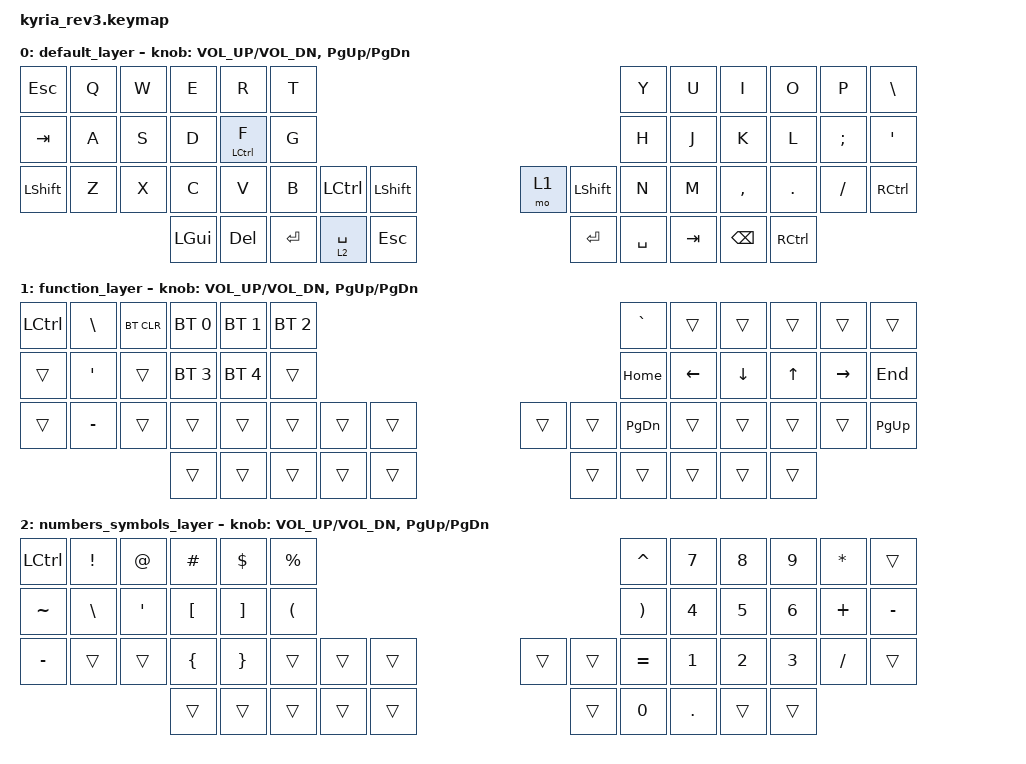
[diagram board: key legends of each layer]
/*
 * Copyright (c) 2023 The ZMK Contributors
 *
 * SPDX-License-Identifier: MIT
 */

#include <behaviors.dtsi>
#include <dt-bindings/zmk/bt.h>
#include <dt-bindings/zmk/keys.h>

/* Uncomment this block if using RGB
&led_strip {
    chain-length = <6>;
    // chain-length = <31>; // Uncomment if using both per-key and underglow LEDs
    // chain-length = <25>; // Uncomment if using only per-key LEDs.
};
 */

/ {
    keymap {
        compatible = "zmk,keymap";

        default_layer {
            // ---------------------------------------------------------------------------------------------------------------------------------
            // |  ESC  |  Q  |  W  |  E   |  R   |  T   |                                          |  Y   |  U    |  I    |  O   |   P   |   \  |
            // |  TAB  |  A  |  S  |  D   | F/CTL|  G   |                                          |  H   |  J    |  K    |  L   |   ;   |   '  |
            // | SHIFT |  Z  |  X  |  C   |  V   |  B   |  CTRL   | L SHIFT |  | LAYER 1 | L SHIFT |  N   |  M    |  ,    |  .   |   /   | CTRL |
            //                     | GUI  | DEL  | RET  | LT2/SPC |   ESC   |  |   RET   |  SPACE  | TAB  | BSPC  | R-CTL |
            bindings = <
            &kp ESC   &kp Q &kp W &kp E &kp R &kp T                                                  &kp Y &kp U  &kp I     &kp O   &kp P    &kp BSLH
            &kp TAB   &kp A &kp S &kp D &mt LCTL F &kp G                                            &kp H &kp J  &kp K     &kp L   &kp SEMI &kp SQT
            &kp LSHFT &kp Z &kp X &kp C &kp V &kp B &kp LCTL &kp LSHFT            &mo 1   &kp LSHFT &kp N &kp M  &kp COMMA &kp DOT &kp FSLH &kp RCTRL
                                  &kp LGUI &kp DEL &kp RET &lt 2 SPACE &kp ESC       &kp RET &kp SPACE &kp TAB &kp BSPC &kp RCTL
            >;

            sensor-bindings = <&inc_dec_kp C_VOL_UP C_VOL_DN &inc_dec_kp PG_UP PG_DN>;
        };
        function_layer {
            // ---------------------------------------------------------------------------------------------------------------------------------
            // |  CTRL |   \  |BT_CLR|BTSEL0|BTSEL1|BTSEL2|                                         |   `  |      |      |      |      |      |
            // |       |   '  |      |BTSEL3|BTSEL4|      |                                         | HOME | LEFT | DOWN |  UP  | RGHT | END  |
            // |       |   -  |      |      |      |      |      |      |      |      |      |      | PGDN |      |      |      |      | PGUP |
            //                       |      |      |      |      |      |      |      |      |      |      |      |      |
            bindings = <
            &kp LCTL &kp BSLH &bt BT_CLR &bt BT_SEL 0 &bt BT_SEL 1 &bt BT_SEL 2              &kp GRAVE &trans    &trans   &trans &trans   &trans
            &trans &kp SQT  &trans     &bt BT_SEL 3 &bt BT_SEL 4 &trans                    &kp HOME &kp LEFT  &kp DOWN &kp UP &kp RIGHT &kp END
            &trans &kp MINUS &trans &trans &trans &trans &trans &trans        &trans &trans &kp PG_DN &trans   &trans   &trans &trans   &kp PG_UP
                                 &trans &trans &trans &trans &trans        &trans &trans &trans &trans &trans
            >;

            sensor-bindings = <&inc_dec_kp C_VOL_UP C_VOL_DN &inc_dec_kp PG_UP PG_DN>;
        };
        numbers_symbols_layer {
            // ---------------------------------------------------------------------------------------------------------------------------------
            // |  CTRL |  !  |  @  |  #  |  $  |  %  |                                          |  ^  |  7  |  8  |  9  |  *  |      |
            // |   ~   |  \  |  '  |  [  |  ]  |  (  |                                          |  )  |  4  |  5  |  6  |  +  |  -   |
            // |   -   |     |     |  {  |  }  |     |      |      |      |      |      |      |  =  |  1  |  2  |  3  |  /  |      |
            //                     |     |     |     |      |      |      |      |  0   |  .   |     |
            bindings = <
            &kp LCTL &kp EXCL &kp AT &kp HASH &kp DLLR &kp PRCNT                           &kp CARET &kp N7 &kp N8 &kp N9 &kp ASTRK &trans
            &kp TILDE &kp BSLH &kp SQT &kp LBKT &kp RBKT &kp LPAR                          &kp RPAR  &kp N4 &kp N5 &kp N6 &kp PLUS  &kp MINUS
            &kp MINUS &trans   &trans &kp LBRC &kp RBRC &trans &trans &trans   &trans &trans &kp EQUAL &kp N1 &kp N2 &kp N3 &kp FSLH  &trans
                                     &trans   &trans   &trans &trans &trans   &trans &kp N0 &kp DOT &trans &trans
            >;

            sensor-bindings = <&inc_dec_kp C_VOL_UP C_VOL_DN &inc_dec_kp PG_UP PG_DN>;
        };
    };
};
